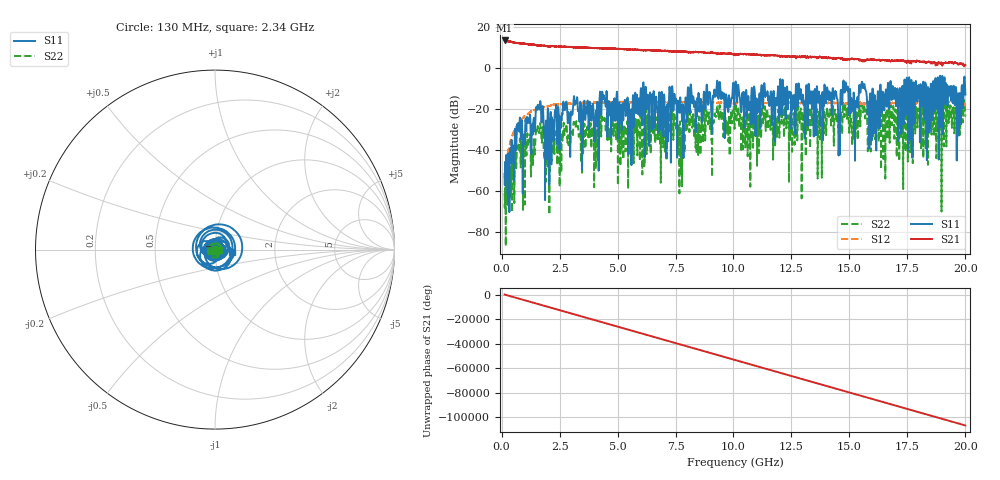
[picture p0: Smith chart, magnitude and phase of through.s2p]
!Created with skrf (http://scikit-rf.org).
# GHz S RI R 50.0
!freq ReS11 ImS11 ReS21 ImS21 ReS12 ImS12 ReS22 ImS22
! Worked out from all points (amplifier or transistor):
!   20013 points, 130 MHz to 20 GHz, reference 50 ohm
!   highest |S21| = 13.4 dB at 130 MHz (marker M1)
!   |S21| within 3 dB of that: start of sweep to 2.35 GHz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
!   unconditionally stable (mu >= 1): start of sweep to end of sweep
!   at 3.465 GHz: K = 1.35, MAG = 10.0 dB, |S12| = -17.1 dB
!   at 10.14 GHz: K = 1.74, MAG = 6.9 dB, |S12| = -17.2 dB
!   at 20 GHz: K = 3.02, MAG = 1.8 dB, |S12| = -17.4 dB
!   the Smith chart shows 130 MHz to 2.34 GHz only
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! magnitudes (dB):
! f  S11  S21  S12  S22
! 130 MHz  -51.7  13.4  -53.1  -61.8
! 617 MHz  -35.9  12.2  -29.2  -46.3
! 1.353 GHz  -29.7  11.4  -20.9  -47.0
! 1.582 GHz  -18.5  10.9  -19.9  -29.2
! 1.889 GHz  -34.3  10.8  -18.9  -34.0
! 3.19 GHz  -16.8  10.1  -17.2  -29.1
! 3.442 GHz  -17.8  10.0  -17.1  -35.3
! 4.092 GHz  -26.3  9.7  -16.8  -34.6
! 4.335 GHz  -11.8  9.5  -16.9  -23.7
! 5.546 GHz  -24.4  9.1  -16.7  -31.3
! 6.754 GHz  -25.1  8.4  -16.6  -33.6
! 7.429 GHz  -15.5  8.0  -16.7  -25.8
! 7.813 GHz  -17.9  7.8  -16.7  -28.0
! 8.106 GHz  -22.3  7.8  -16.7  -29.8
! 8.499 GHz  -12.6  7.6  -16.8  -23.7
! 10.06 GHz  -8.8  6.6  -17.4  -21.2
! 10.66 GHz  -19.1  6.6  -16.9  -23.5
! 13.38 GHz  -18.5  5.5  -16.6  -23.7
! 14.52 GHz  -27.9  4.9  -16.8  -28.3
! 14.81 GHz  -8.9  4.0  -17.5  -19.6
! 16.69 GHz  -10.0  3.3  -17.3  -19.1
! 20 GHz  -13.0  1.6  -17.4  -23.4
